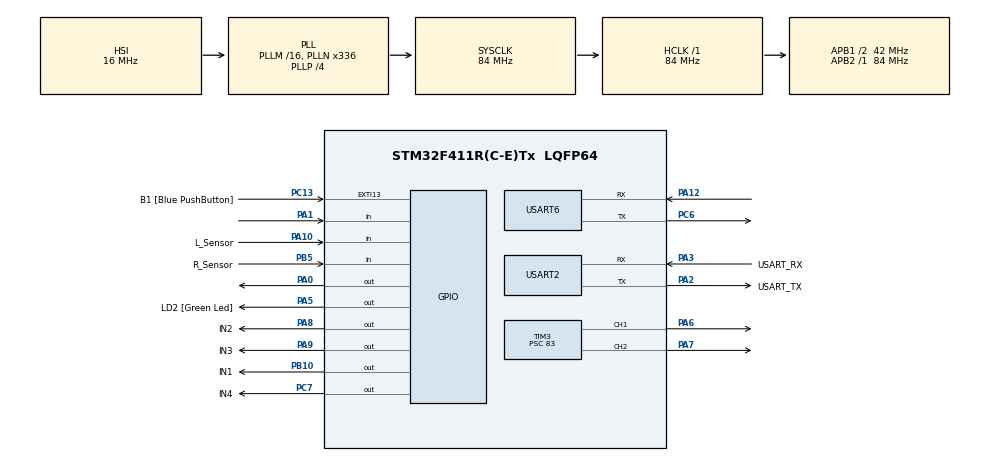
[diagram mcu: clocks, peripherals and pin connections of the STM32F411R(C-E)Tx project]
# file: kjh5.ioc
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Mcu.Family=STM32F4
Mcu.Name=STM32F411R(C-E)Tx
Mcu.Package=LQFP64
NVIC.PriorityGroup=NVIC_PRIORITYGROUP_0
NVIC.USART6_IRQn=true\:0\:0\:false\:false\:true\:true\:true\:true
PA0-WKUP.Signal=GPIO_Output
PA1.Signal=GPIO_Input
PA10.GPIO_Label=L_Sensor
PA10.Signal=GPIO_Input
PA12.Mode=Asynchronous
PA12.Signal=USART6_RX
PA13.GPIO_Label=TMS
PA13.Mode=Serial_Wire
PA13.Signal=SYS_JTMS-SWDIO
PA14.GPIO_Label=TCK
PA14.Mode=Serial_Wire
PA14.Signal=SYS_JTCK-SWCLK
PA2.GPIO_Label=USART_TX
PA2.Mode=Asynchronous
PA2.Signal=USART2_TX
PA3.GPIO_Label=USART_RX
PA3.Mode=Asynchronous
PA3.Signal=USART2_RX
PA5.GPIO_Label=LD2 [Green Led]
PA5.Signal=GPIO_Output
PA6.Signal=S_TIM3_CH1
PA7.Signal=S_TIM3_CH2
PA8.GPIO_Label=IN2
PA8.Signal=GPIO_Output
PA9.GPIO_Label=IN3
PA9.Signal=GPIO_Output
PB10.GPIO_Label=IN1
PB10.Signal=GPIO_Output
PB3.GPIO_Label=SWO
PB3.Signal=SYS_JTDO-SWO
PB5.GPIO_Label=R_Sensor
PB5.Signal=GPIO_Input
PC13-ANTI_TAMP.GPIO_Label=B1 [Blue PushButton]
PC13-ANTI_TAMP.GPIO_ModeDefaultEXTI=GPIO_MODE_IT_FALLING
PC13-ANTI_TAMP.Signal=GPXTI13
PC14-OSC32_IN.Mode=LSE-External-Oscillator
PC14-OSC32_IN.Signal=RCC_OSC32_IN
PC15-OSC32_OUT.Mode=LSE-External-Oscillator
PC15-OSC32_OUT.Signal=RCC_OSC32_OUT
PC6.Mode=Asynchronous
PC6.Signal=USART6_TX
PC7.GPIO_Label=IN4
PC7.Signal=GPIO_Output
PH0\ -\ OSC_IN.Mode=HSE-External-Clock-Source
PH0\ -\ OSC_IN.Signal=RCC_OSC_IN
PH1\ -\ OSC_OUT.Mode=HSE-External-Clock-Source
PH1\ -\ OSC_OUT.Signal=RCC_OSC_OUT
ProjectManager.HeapSize=0x200
ProjectManager.StackSize=0x400
ProjectManager.TargetToolchain=STM32CubeIDE
RCC.48MHZClocksFreq_Value=84000000
RCC.AHBFreq_Value=84000000
RCC.APB1CLKDivider=RCC_HCLK_DIV2
RCC.APB1Freq_Value=42000000
RCC.APB1TimFreq_Value=84000000
RCC.APB2Freq_Value=84000000
RCC.APB2TimFreq_Value=84000000
RCC.CortexFreq_Value=84000000
RCC.FLatency-AdvancedSettings=FLASH_LATENCY_2
RCC.HCLKFreq_Value=84000000
RCC.HSE_VALUE=8000000
RCC.HSI_VALUE=16000000
RCC.PLLN=336
RCC.PLLP=RCC_PLLP_DIV4
RCC.SYSCLKFreq_VALUE=84000000
RCC.SYSCLKSource=RCC_SYSCLKSOURCE_PLLCLK
RCC.VCOOutputFreq_Value=336000000
SH.S_TIM3_CH1.0=TIM3_CH1,PWM Generation1 CH1
SH.S_TIM3_CH2.0=TIM3_CH2,PWM Generation2 CH2
TIM2.Period=65535
TIM2.Prescaler=83
TIM3.Channel-PWM\ Generation1\ CH1=TIM_CHANNEL_1
TIM3.Channel-PWM\ Generation2\ CH2=TIM_CHANNEL_2
TIM3.Period=10000-1
TIM3.Prescaler=83
USART2.VirtualMode=VM_ASYNC
USART6.VirtualMode=VM_ASYNC
VP_TIM2_VS_ClockSourceINT.Mode=Internal
VP_TIM3_VS_ClockSourceINT.Mode=Internal
board=NUCLEO-F411RE

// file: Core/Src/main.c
/* USER CODE BEGIN Header */
/**
  ******************************************************************************
  * @file           : main.c
  * @brief          : Main program body
  ******************************************************************************
  * @attention
  *
  * Copyright (c) 2024 STMicroelectronics.
  * All rights reserved.
  *
  * This software is licensed under terms that can be found in the LICENSE file
  * in the root directory of this software component.
  * If no LICENSE file comes with this software, it is provided AS-IS.
  *
  ******************************************************************************
  */
/* USER CODE END Header */
#include "main.h"

/* USER CODE BEGIN Includes */
#include <stdbool.h>
/* USER CODE END Includes */

TIM_HandleTypeDef htim2;
TIM_HandleTypeDef htim3;

UART_HandleTypeDef huart2;
UART_HandleTypeDef huart6;

/* USER CODE BEGIN PV */
bool Lsensor= false,Rsensor= false; //status of Rsensor, Lsensor
uint32_t startTime = 0;
uint32_t endTime = 0;
float distance = 0.0f;
unsigned int count = 0;
// for uart6
static volatile unsigned char rx2Flag = 0;
static volatile char rx2Data[50];
static uint8_t cdata;
/* USER CODE END PV */

void SystemClock_Config(void);
static void MX_GPIO_Init(void);
static void MX_USART2_UART_Init(void);
static void MX_TIM3_Init(void);
static void MX_TIM2_Init(void);
static void MX_USART6_UART_Init(void);
/* USER CODE BEGIN PFP */
static void go(void);								//go forward
static void back(void);							//go backward
static void turn_left(void);				//turn left
static void turn_right(void);				//turn right
static void stop(void);							//stop
static void l_mode(void);
static void r_mode(void);
/* USER CODE END PFP */

int main(void)
{

  /* MCU Configuration--------------------------------------------------------*/

  /* Reset of all peripherals, Initializes the Flash interface and the Systick. */
  HAL_Init();

  /* Configure the system clock */
  SystemClock_Config();

  /* Initialize all configured peripherals */
  MX_GPIO_Init();
  MX_USART2_UART_Init();
  MX_TIM3_Init();
  MX_TIM2_Init();
  MX_USART6_UART_Init();
  /* USER CODE BEGIN 2 */
  HAL_TIM_PWM_Start(&htim3, TIM_CHANNEL_1);					//channel1 PWM start
  HAL_TIM_PWM_Start(&htim3, TIM_CHANNEL_2);					//channel2 PWM start
  HAL_TIM_Base_Start(&htim2);
  /* USER CODE END 2 */

  /* Infinite loop */
  /* USER CODE BEGIN WHILE */
  while (1)
  {
  	count = count +1;

  	if(count%10 == 0){

			HAL_GPIO_WritePin(GPIOA, GPIO_PIN_0, GPIO_PIN_SET); // Trig HIGH
			HAL_Delay(10);
			HAL_GPIO_WritePin(GPIOA, GPIO_PIN_0, GPIO_PIN_RESET); // Trig LOW

			while (HAL_GPIO_ReadPin(GPIOA, GPIO_PIN_1) == GPIO_PIN_RESET); // until echo pin LOW
			startTime = __HAL_TIM_GET_COUNTER(&htim2);

			while (HAL_GPIO_ReadPin(GPIOA, GPIO_PIN_1) == GPIO_PIN_SET); // until echo pin HIGH
			endTime = __HAL_TIM_GET_COUNTER(&htim2);

			// 거리 계산
			distance = (endTime - startTime) * 0.0343 / 2;
  	}

		if(distance < 15)
		{
			stop();
		}
		else
		{
			l_mode();
    /* USER CODE END WHILE */

		}
  }
}

void SystemClock_Config(void)
{
  RCC_OscInitTypeDef RCC_OscInitStruct = {0};
  RCC_ClkInitTypeDef RCC_ClkInitStruct = {0};

  /** Configure the main internal regulator output voltage
  */
  __HAL_RCC_PWR_CLK_ENABLE();
  __HAL_PWR_VOLTAGESCALING_CONFIG(PWR_REGULATOR_VOLTAGE_SCALE1);

  /** Initializes the RCC Oscillators according to the specified parameters
  * in the RCC_OscInitTypeDef structure.
  */
  RCC_OscInitStruct.OscillatorType = RCC_OSCILLATORTYPE_HSI;
  RCC_OscInitStruct.HSIState = RCC_HSI_ON;
  RCC_OscInitStruct.HSICalibrationValue = RCC_HSICALIBRATION_DEFAULT;
  RCC_OscInitStruct.PLL.PLLState = RCC_PLL_ON;
  RCC_OscInitStruct.PLL.PLLSource = RCC_PLLSOURCE_HSI;
  RCC_OscInitStruct.PLL.PLLM = 16;
  RCC_OscInitStruct.PLL.PLLN = 336;
  RCC_OscInitStruct.PLL.PLLP = RCC_PLLP_DIV4;
  RCC_OscInitStruct.PLL.PLLQ = 4;
  if (HAL_RCC_OscConfig(&RCC_OscInitStruct) != HAL_OK)
  {
    Error_Handler();
  }

  /** Initializes the CPU, AHB and APB buses clocks
  */
  RCC_ClkInitStruct.ClockType = RCC_CLOCKTYPE_HCLK|RCC_CLOCKTYPE_SYSCLK
                              |RCC_CLOCKTYPE_PCLK1|RCC_CLOCKTYPE_PCLK2;
  RCC_ClkInitStruct.SYSCLKSource = RCC_SYSCLKSOURCE_PLLCLK;
  RCC_ClkInitStruct.AHBCLKDivider = RCC_SYSCLK_DIV1;
  RCC_ClkInitStruct.APB1CLKDivider = RCC_HCLK_DIV2;
  RCC_ClkInitStruct.APB2CLKDivider = RCC_HCLK_DIV1;

  if (HAL_RCC_ClockConfig(&RCC_ClkInitStruct, FLASH_LATENCY_2) != HAL_OK)
  {
    Error_Handler();
  }
}

static void MX_TIM2_Init(void)
{

  TIM_ClockConfigTypeDef sClockSourceConfig = {0};
  TIM_MasterConfigTypeDef sMasterConfig = {0};

  htim2.Instance = TIM2;
  htim2.Init.Prescaler = 83;
  htim2.Init.CounterMode = TIM_COUNTERMODE_UP;
  htim2.Init.Period = 65535;
  htim2.Init.ClockDivision = TIM_CLOCKDIVISION_DIV1;
  htim2.Init.AutoReloadPreload = TIM_AUTORELOAD_PRELOAD_DISABLE;
  if (HAL_TIM_Base_Init(&htim2) != HAL_OK)
  {
    Error_Handler();
  }
  sClockSourceConfig.ClockSource = TIM_CLOCKSOURCE_INTERNAL;
  if (HAL_TIM_ConfigClockSource(&htim2, &sClockSourceConfig) != HAL_OK)
  {
    Error_Handler();
  }
  sMasterConfig.MasterOutputTrigger = TIM_TRGO_RESET;
  sMasterConfig.MasterSlaveMode = TIM_MASTERSLAVEMODE_DISABLE;
  if (HAL_TIMEx_MasterConfigSynchronization(&htim2, &sMasterConfig) != HAL_OK)
  {
    Error_Handler();
  }

}

static void MX_TIM3_Init(void)
{

  TIM_ClockConfigTypeDef sClockSourceConfig = {0};
  TIM_MasterConfigTypeDef sMasterConfig = {0};
  TIM_OC_InitTypeDef sConfigOC = {0};

  htim3.Instance = TIM3;
  htim3.Init.Prescaler = 83;
  htim3.Init.CounterMode = TIM_COUNTERMODE_UP;
  htim3.Init.Period = 10000-1;
  htim3.Init.ClockDivision = TIM_CLOCKDIVISION_DIV1;
  htim3.Init.AutoReloadPreload = TIM_AUTORELOAD_PRELOAD_DISABLE;
  if (HAL_TIM_Base_Init(&htim3) != HAL_OK)
  {
    Error_Handler();
  }
  sClockSourceConfig.ClockSource = TIM_CLOCKSOURCE_INTERNAL;
  if (HAL_TIM_ConfigClockSource(&htim3, &sClockSourceConfig) != HAL_OK)
  {
    Error_Handler();
  }
  if (HAL_TIM_PWM_Init(&htim3) != HAL_OK)
  {
    Error_Handler();
  }
  sMasterConfig.MasterOutputTrigger = TIM_TRGO_RESET;
  sMasterConfig.MasterSlaveMode = TIM_MASTERSLAVEMODE_DISABLE;
  if (HAL_TIMEx_MasterConfigSynchronization(&htim3, &sMasterConfig) != HAL_OK)
  {
    Error_Handler();
  }
  sConfigOC.OCMode = TIM_OCMODE_PWM1;
  sConfigOC.Pulse = 0;
  sConfigOC.OCPolarity = TIM_OCPOLARITY_HIGH;
  sConfigOC.OCFastMode = TIM_OCFAST_DISABLE;
  if (HAL_TIM_PWM_ConfigChannel(&htim3, &sConfigOC, TIM_CHANNEL_1) != HAL_OK)
  {
    Error_Handler();
  }
  if (HAL_TIM_PWM_ConfigChannel(&htim3, &sConfigOC, TIM_CHANNEL_2) != HAL_OK)
  {
    Error_Handler();
  }
  HAL_TIM_MspPostInit(&htim3);

}

static void MX_USART2_UART_Init(void)
{

  huart2.Instance = USART2;
  huart2.Init.BaudRate = 115200;
  huart2.Init.WordLength = UART_WORDLENGTH_8B;
  huart2.Init.StopBits = UART_STOPBITS_1;
  huart2.Init.Parity = UART_PARITY_NONE;
  huart2.Init.Mode = UART_MODE_TX_RX;
  huart2.Init.HwFlowCtl = UART_HWCONTROL_NONE;
  huart2.Init.OverSampling = UART_OVERSAMPLING_16;
  if (HAL_UART_Init(&huart2) != HAL_OK)
  {
    Error_Handler();
  }

}

static void MX_USART6_UART_Init(void)
{

  huart6.Instance = USART6;
  huart6.Init.BaudRate = 115200;
  huart6.Init.WordLength = UART_WORDLENGTH_8B;
  huart6.Init.StopBits = UART_STOPBITS_1;
  huart6.Init.Parity = UART_PARITY_NONE;
  huart6.Init.Mode = UART_MODE_TX_RX;
  huart6.Init.HwFlowCtl = UART_HWCONTROL_NONE;
  huart6.Init.OverSampling = UART_OVERSAMPLING_16;
  if (HAL_UART_Init(&huart6) != HAL_OK)
  {
    Error_Handler();
  }

}

static void MX_GPIO_Init(void)
{
  GPIO_InitTypeDef GPIO_InitStruct = {0};

  /* GPIO Ports Clock Enable */
  __HAL_RCC_GPIOC_CLK_ENABLE();
  __HAL_RCC_GPIOH_CLK_ENABLE();
  __HAL_RCC_GPIOA_CLK_ENABLE();
  __HAL_RCC_GPIOB_CLK_ENABLE();

  /*Configure GPIO pin Output Level */
  HAL_GPIO_WritePin(GPIOA, GPIO_PIN_0|LD2_Pin|IN2_Pin|IN3_Pin, GPIO_PIN_RESET);

  /*Configure GPIO pin Output Level */
  HAL_GPIO_WritePin(IN1_GPIO_Port, IN1_Pin, GPIO_PIN_RESET);

  /*Configure GPIO pin Output Level */
  HAL_GPIO_WritePin(IN4_GPIO_Port, IN4_Pin, GPIO_PIN_RESET);

  /*Configure GPIO pin : B1_Pin */
  GPIO_InitStruct.Pin = B1_Pin;
  GPIO_InitStruct.Mode = GPIO_MODE_IT_FALLING;
  GPIO_InitStruct.Pull = GPIO_NOPULL;
  HAL_GPIO_Init(B1_GPIO_Port, &GPIO_InitStruct);

  /*Configure GPIO pins : PA0 LD2_Pin IN2_Pin IN3_Pin */
  GPIO_InitStruct.Pin = GPIO_PIN_0|LD2_Pin|IN2_Pin|IN3_Pin;
  GPIO_InitStruct.Mode = GPIO_MODE_OUTPUT_PP;
  GPIO_InitStruct.Pull = GPIO_NOPULL;
  GPIO_InitStruct.Speed = GPIO_SPEED_FREQ_LOW;
  HAL_GPIO_Init(GPIOA, &GPIO_InitStruct);

  /*Configure GPIO pins : PA1 L_Sensor_Pin */
  GPIO_InitStruct.Pin = GPIO_PIN_1|L_Sensor_Pin;
  GPIO_InitStruct.Mode = GPIO_MODE_INPUT;
  GPIO_InitStruct.Pull = GPIO_NOPULL;
  HAL_GPIO_Init(GPIOA, &GPIO_InitStruct);

  /*Configure GPIO pin : IN1_Pin */
  GPIO_InitStruct.Pin = IN1_Pin;
  GPIO_InitStruct.Mode = GPIO_MODE_OUTPUT_PP;
  GPIO_InitStruct.Pull = GPIO_NOPULL;
  GPIO_InitStruct.Speed = GPIO_SPEED_FREQ_LOW;
  HAL_GPIO_Init(IN1_GPIO_Port, &GPIO_InitStruct);

  /*Configure GPIO pin : IN4_Pin */
  GPIO_InitStruct.Pin = IN4_Pin;
  GPIO_InitStruct.Mode = GPIO_MODE_OUTPUT_PP;
  GPIO_InitStruct.Pull = GPIO_NOPULL;
  GPIO_InitStruct.Speed = GPIO_SPEED_FREQ_LOW;
  HAL_GPIO_Init(IN4_GPIO_Port, &GPIO_InitStruct);

  /*Configure GPIO pin : R_Sensor_Pin */
  GPIO_InitStruct.Pin = R_Sensor_Pin;
  GPIO_InitStruct.Mode = GPIO_MODE_INPUT;
  GPIO_InitStruct.Pull = GPIO_NOPULL;
  HAL_GPIO_Init(R_Sensor_GPIO_Port, &GPIO_InitStruct);

}

/* USER CODE BEGIN 4 */
void HAL_UART_RxCpltCallback(UART_HandleTypeDef *huart)
{
	static int i = 0;
	if(huart->Instance == USART6)
	{
		if(cdata !='\n' && cdata !='\r')
		{
			rx2Data[i++] = cdata;
		}
		if(cdata !='\n' || cdata !='\r' || i>=sizeof(rx2Data)-1)
		{
			rx2Data[i] = '\0';
			rx2Flag = 1;
			i= 0;
		}
	}
	HAL_UART_Receive_IT(&huart6, &cdata, 1);
}

static void go(void){							//go foward
	HAL_GPIO_WritePin(IN1_GPIO_Port, IN1_Pin, GPIO_PIN_SET);
	HAL_GPIO_WritePin(IN3_GPIO_Port, IN3_Pin, GPIO_PIN_SET);
	HAL_GPIO_WritePin(IN2_GPIO_Port, IN2_Pin, GPIO_PIN_RESET);
	HAL_GPIO_WritePin(IN4_GPIO_Port, IN4_Pin, GPIO_PIN_RESET);

	__HAL_TIM_SET_COMPARE(&htim3, TIM_CHANNEL_1,4499);		//right wheel PWM
	__HAL_TIM_SET_COMPARE(&htim3, TIM_CHANNEL_2,4499); 		//left wheel PWM

}
static void back(void){
	HAL_GPIO_WritePin(IN1_GPIO_Port, IN1_Pin, GPIO_PIN_RESET);
	HAL_GPIO_WritePin(IN3_GPIO_Port, IN3_Pin, GPIO_PIN_RESET);
	HAL_GPIO_WritePin(IN2_GPIO_Port, IN2_Pin, GPIO_PIN_SET);
	HAL_GPIO_WritePin(IN4_GPIO_Port, IN4_Pin, GPIO_PIN_SET);

	__HAL_TIM_SET_COMPARE(&htim3, TIM_CHANNEL_1,7999);		//right wheel PWM
	__HAL_TIM_SET_COMPARE(&htim3, TIM_CHANNEL_2,7999); 		//left wheel PWM
}
static void turn_left(void){ 			//turn left
	HAL_GPIO_WritePin(IN1_GPIO_Port, IN1_Pin, GPIO_PIN_RESET);
	HAL_GPIO_WritePin(IN3_GPIO_Port, IN3_Pin, GPIO_PIN_SET);
	HAL_GPIO_WritePin(IN2_GPIO_Port, IN2_Pin, GPIO_PIN_SET);
	HAL_GPIO_WritePin(IN4_GPIO_Port, IN4_Pin, GPIO_PIN_RESET);

	__HAL_TIM_SET_COMPARE(&htim3, TIM_CHANNEL_2,7999);	//left wheel PWM
	__HAL_TIM_SET_COMPARE(&htim3, TIM_CHANNEL_1,7999);
}
static void turn_right(void)				//turn right
{
	HAL_GPIO_WritePin(IN1_GPIO_Port, IN1_Pin, GPIO_PIN_SET);
	HAL_GPIO_WritePin(IN3_GPIO_Port, IN3_Pin, GPIO_PIN_RESET);
	HAL_GPIO_WritePin(IN2_GPIO_Port, IN2_Pin, GPIO_PIN_RESET);
	HAL_GPIO_WritePin(IN4_GPIO_Port, IN4_Pin, GPIO_PIN_SET);

	__HAL_TIM_SET_COMPARE(&htim3, TIM_CHANNEL_1,7999);
	__HAL_TIM_SET_COMPARE(&htim3, TIM_CHANNEL_2,7999);
}
static void stop(void)							//stop
{
	HAL_GPIO_WritePin(IN1_GPIO_Port, IN1_Pin, GPIO_PIN_RESET);
	HAL_GPIO_WritePin(IN3_GPIO_Port, IN3_Pin, GPIO_PIN_RESET);
	HAL_GPIO_WritePin(IN2_GPIO_Port, IN2_Pin, GPIO_PIN_RESET);
	HAL_GPIO_WritePin(IN4_GPIO_Port, IN4_Pin, GPIO_PIN_RESET);
}
static void r_mode(void)
{
	if((HAL_GPIO_ReadPin(L_Sensor_GPIO_Port, L_Sensor_Pin))==1) //if Lsensor detect black color
			{
				Lsensor = true;
			}
			else
			{
				Lsensor = false;																					//Sensor detect white color
			}
			if((HAL_GPIO_ReadPin(R_Sensor_GPIO_Port, R_Sensor_Pin))==1) //if Rsensor detect black color
			{
				Rsensor = true;
			}
			else
			{
				Rsensor = false;																					//Sensor detect white color
			}

			if(Rsensor == false )			//R,Lsemsor detect white
			{
				go();
			}
			else
			{
				turn_left();
			}
}
static void l_mode(void)
{
			if((HAL_GPIO_ReadPin(L_Sensor_GPIO_Port, L_Sensor_Pin))==1) //if Lsensor detect black color
			{
				Lsensor = true;
			}
			else
			{
				Lsensor = false;																					//Sensor detect white color
			}
			if((HAL_GPIO_ReadPin(R_Sensor_GPIO_Port, R_Sensor_Pin))==1) //if Rsensor detect black color
			{
				Rsensor = true;
			}
			else
			{
				Rsensor = false;																					//Sensor detect white color
			}

			if(Lsensor == false)			//R,Lsemsor detect white
			{
				go();
			}

			else
			{
				turn_right();
			}
}
/* USER CODE END 4 */

void Error_Handler(void)
{
  __disable_irq();
  while (1)
  {
  }
}
